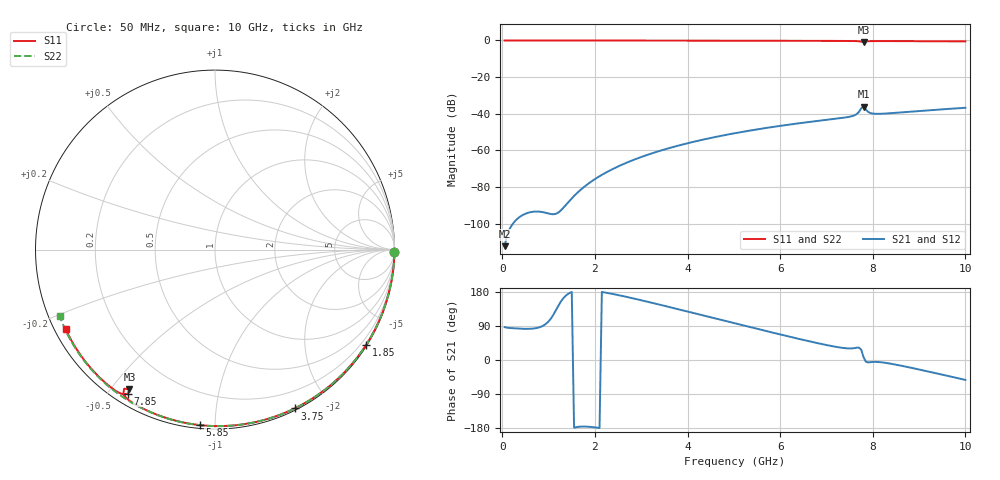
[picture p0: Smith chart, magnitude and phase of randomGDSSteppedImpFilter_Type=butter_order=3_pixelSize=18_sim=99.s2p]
! freq	dB(S11)	phase(S11)	dB(S12)	phase(S12)
!  dB(S21)	phase(S21)	dB(S22)	phase(S22)
!S-par simulation data
#  GHz  S  DB  R 50
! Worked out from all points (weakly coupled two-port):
!   200 points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, 50 MHz to 10 GHz, reference 50 ohm
!   highest |S21| = -36.12 dB at 7.8 GHz (marker M1); lowest = -112.3 dB at 50 MHz (marker M2)
!   lowest |S11| = -0.8 dB at 7.8 GHz (marker M3), VSWR 21.53, Z = 3.05 - j27.9 ohm
!   |S11| at or under -10 dB: nowhere
!   |S22| runs from -0.5 to 0.0 dB; largest |S21 - S12| = 0
!   S11 on the Smith chart (normalised r, x): 50 MHz: open; 1.85 GHz: 0.03, -3.47; 3.75 GHz: 0.02, -1.62; 5.85 GHz: 0.02, -0.92; 7.85 GHz: 0.04, -0.56; 10 GHz: 0.03, -0.25
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0.05  -0.00 -0.9  -112.25 86.8  -112.25 86.8  -0.00 -0.9
0.9  -0.02 -15.8  -93.81 91.7  -93.81 91.7  -0.02 -16.2
1.75  -0.04 -30.4  -80.25 -175.6  -80.25 -175.6  -0.04 -31.2
1.85  -0.04 -32.1  -78.29 -176.0  -78.29 -176.0  -0.04 -33.0
2.15  -0.05 -37.2  -73.33 179.5  -73.33 179.5  -0.05 -38.2
2.5  -0.06 -43.1  -68.76 171.4  -68.76 171.4  -0.06 -44.2
2.9  -0.06 -49.7  -64.53 160.6  -64.53 160.6  -0.07 -51.0
3.4  -0.08 -57.8  -60.25 146.0  -60.25 146.0  -0.08 -59.3
3.75  -0.09 -63.3  -57.72 135.5  -57.72 135.5  -0.09 -65.0
5.05  -0.13 -83.3  -50.48 95.9  -50.48 95.9  -0.13 -85.4
5.85  -0.16 -95.0  -47.16 71.9  -47.16 71.9  -0.17 -97.5
6.7  -0.21 -107.2  -44.25 47.4  -44.25 47.4  -0.21 -109.9
7.55  -0.29 -119.6  -41.32 30.6  -41.32 30.6  -0.28 -122.0
7.65  -0.35 -121.4  -40.24 32.4  -40.24 32.4  -0.28 -123.4
7.7  -0.44 -122.5  -39.03 32.9  -39.03 32.9  -0.29 -124.1
7.75  -0.67 -123.2  -37.03 27.4  -37.03 27.4  -0.29 -124.8
7.8  -0.81 -121.5  -36.12 7.9  -36.12 7.9  -0.29 -125.5
7.85  -0.56 -121.1  -37.71 -4.6  -37.71 -4.6  -0.29 -126.2
7.9  -0.43 -122.0  -39.00 -6.3  -39.00 -6.3  -0.30 -126.9
8  -0.35 -123.9  -39.91 -5.1  -39.91 -5.1  -0.31 -128.4
8.35  -0.34 -129.2  -39.76 -9.0  -39.76 -9.0  -0.34 -133.3
10  -0.51 -151.9  -36.74 -52.5  -36.74 -52.5  -0.53 -156.7
